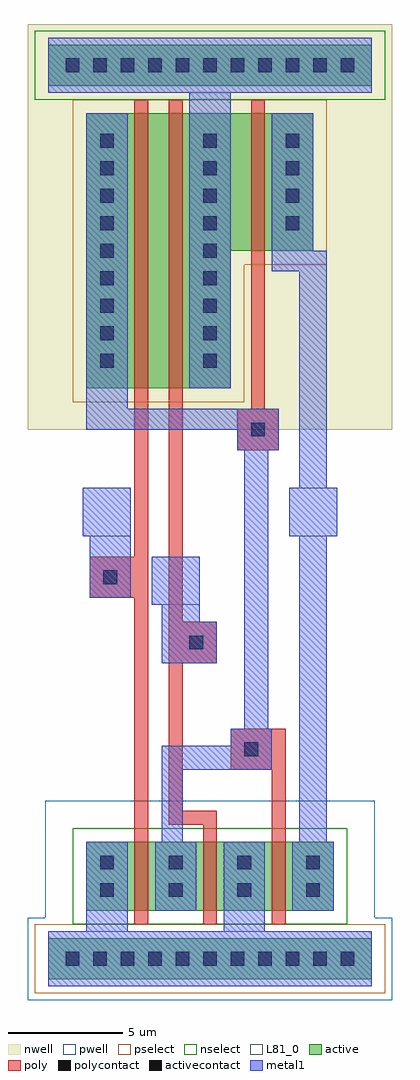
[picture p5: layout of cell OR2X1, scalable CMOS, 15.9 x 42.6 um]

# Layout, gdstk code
import gdstk
lib = gdstk.Library(unit=1e-6, precision=1e-09)
def R(c, l, rs):  # rectangles x0, y0, x1, y1
    for r in rs: c.add(gdstk.rectangle(r[:2], r[2:], *l))
def A(c, l, x, y, w, h, nx, ny, dx, dy):  # array of equal rectangles
    R(c, l, [(x+i*dx, y+j*dy, x+i*dx+w, y+j*dy+h) for i in range(nx) for j in range(ny)])
pwell = (41, 0)
nwell = (42, 0)
active = (43, 0)
pselect = (44, 0)
nselect = (45, 0)
poly = (46, 0)
polycontact = (47, 0)
activecontact = (48, 0)
metal1 = (49, 0)
L81_0 = (81, 0)

or2x1 = lib.new_cell('OR2X1')
R(or2x1, pwell, [(-1.95,-1.8,13.95,1.8), (-1.2,1.8,13.2,6.9)])
R(or2x1, nwell, [(-1.95,23.1,13.95,40.8)])
R(or2x1, active, [(-1.05,-0.9,13.05,0.9), (0.6,2.1,11.4,5.1), (0.6,24.9,6.9,30.9), (0.6,30.9,10.5,36.9), (-1.05,38.1,13.05,39.9)])
R(or2x1, pselect, [(-1.65,-1.5,13.65,1.5), (0,24.3,7.5,30.3), (0,30.3,11.1,37.5)])
R(or2x1, nselect, [(0,1.5,12,5.7), (-1.65,37.5,13.65,40.5)])
R(or2x1, poly, [(2.7,1.5,3.3,15.75), (5.7,1.5,6.3,5.85), (8.7,1.5,9.3,8.25), (4.2,5.85,6.3,6.45), (4.2,6.45,4.8,12.9), (6.9,8.25,9.3,10.05), (4.2,12.9,6.3,14.7), (4.2,14.7,4.8,37.5), (0.75,15.75,3.3,17.55), (2.7,17.55,3.3,37.5), (7.2,22.2,9,24), (7.8,24,8.4,37.5)])
R(or2x1, polycontact, [(7.5,8.85,8.1,9.45), (5.1,13.5,5.7,14.1), (1.35,16.35,1.95,16.95), (7.8,22.8,8.4,23.4)])
A(or2x1, activecontact, -0.3, -0.3, 0.6, 0.6, 11, 2, 1.2, 39)
A(or2x1, activecontact, 1.2, 2.7, 0.6, 0.6, 4, 2, 3, 1.2)
A(or2x1, activecontact, 1.2, 25.8, 0.6, 0.6, 1, 9, 0, 1.2)
A(or2x1, activecontact, 5.7, 25.8, 0.6, 0.6, 1, 9, 0, 1.2)
A(or2x1, activecontact, 9.3, 31.8, 0.6, 0.6, 1, 4, 0, 1.2)
R(or2x1, metal1, [(-1.05,-1.2,13.05,1.2), (0.6,1.2,2.4,5.1), (6.6,1.2,8.4,5.1), (3.6,2.1,5.4,5.1), (9.6,2.1,11.4,5.1), (3.9,5.1,4.8,8.25), (9.9,5.1,11.1,18.45), (3.9,8.25,8.7,9.3), (6.9,9.3,8.7,10.05), (7.5,10.05,8.55,22.2), (3.9,12.9,6.3,14.7), (3.9,14.7,5.55,15.45), (3.45,15.45,5.55,17.55), (0.75,15.75,2.55,18.45), (0.45,18.45,2.55,20.55), (9.45,18.45,11.55,20.55), (9.9,20.55,11.1,30), (7.2,22.2,9,23.1), (0.6,23.1,9,24), (0.6,24,2.4,36.9), (5.1,24.9,6.9,37.8), (8.7,30,11.1,30.9), (8.7,30.9,10.5,36.9), (-1.05,37.8,13.05,40.2)])
R(or2x1, L81_0, [(-1.05,-1.2,13.05,1.2), (3.45,15.45,5.55,17.55), (0.45,18.45,2.55,20.55), (9.45,18.45,11.55,20.55), (-1.05,37.8,13.05,40.2)])

lib.write_gds('OR2X1.gds')
